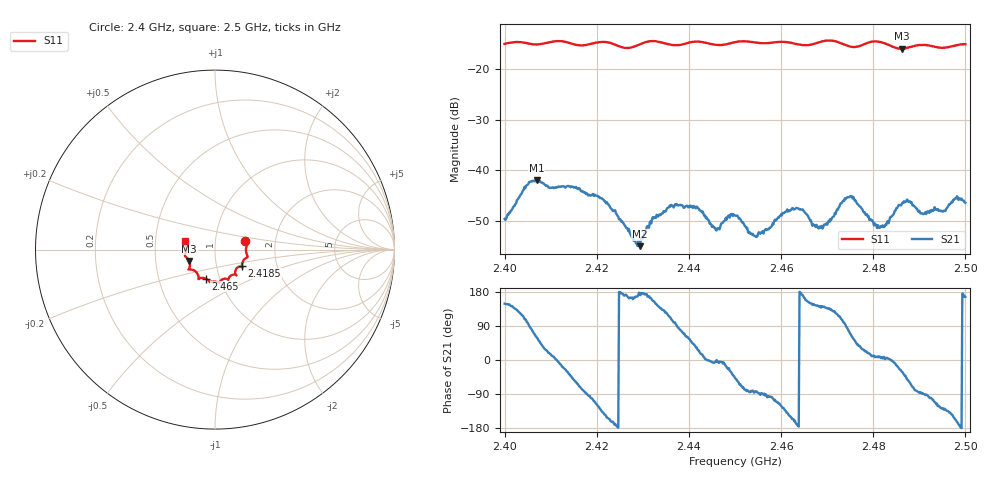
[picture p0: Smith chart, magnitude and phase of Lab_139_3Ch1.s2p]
# Hz S RI R 50
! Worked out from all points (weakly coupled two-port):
!   601 points, 2.4 GHz to 2.5 GHz, reference 50 ohm
!   highest |S21| = -41.90 dB at 2.407 GHz (marker M1); lowest = -54.9 dB at 2.4293 GHz (marker M2)
!   lowest |S11| = -16.1 dB at 2.4862 GHz (marker M3), VSWR 1.37, Z = 37.2 - j4.81 ohm
!   |S11| at or under -10 dB: start of sweep to end of sweep
!   S12 and S22 are empty: the file has one direction only
!   S11 on the Smith chart (normalised r, x): 2.4 GHz: 1.40, +0.13; 2.4185 GHz: 1.33, -0.24; 2.465 GHz: 0.86, -0.28; 2.5 GHz: 0.71, +0.07
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2.4e9  0.1687 0.0462  -0.00286 0.00174  0 0  0 0
2.404833e9  0.1761 0.0208  -0.00124 0.00706  0 0  0 0
2.407e9  0.1727 -0.00334  0.00414 0.00689  0 0  0 0
2.416667e9  0.1548 -0.0678  0.00156 -0.00604  0 0  0 0
2.4185e9  0.1495 -0.0886  -0.000479 -0.0057  0 0  0 0
2.421667e9  0.1528 -0.1001  -0.00403 -0.00295  0 0  0 0
2.429333e9  0.1126 -0.1318  -0.00179 0.000247  0 0  0 0
2.433333e9  0.1178 -0.1412  -0.00279 0.00216  0 0  0 0
2.4415e9  0.0743 -0.1685  0.00354 0.00235  0 0  0 0
2.446167e9  0.0522 -0.1625  0.0027 -0.000218  0 0  0 0
2.45e9  0.0256 -0.18  0.00243 -0.00267  0 0  0 0
2.4545e9  0.0115 -0.1798  0.000293 -0.00222  0 0  0 0
2.460833e9  -0.0291 -0.1804  -0.00263 -0.00291  0 0  0 0
2.465e9  -0.0523 -0.1614  -0.00382 0.00107  0 0  0 0
2.466667e9  -0.0711 -0.1572  -0.00257 0.00155  0 0  0 0
2.4695e9  -0.0907 -0.1638  -0.00221 0.00192  0 0  0 0
2.474833e9  -0.0993 -0.132  0.00158 0.00523  0 0  0 0
2.480667e9  -0.1479 -0.1107  0.0029 0.000437  0 0  0 0
2.483333e9  -0.141 -0.0966  0.00303 0.000189  0 0  0 0
2.486167e9  -0.1433 -0.063  0.00402 -0.00237  0 0  0 0
2.491e9  -0.1675 -0.034  6.09e-06 -0.00375  0 0  0 0
2.5e9  -0.1669 0.047  -0.00469 0.0011  0 0  0 0
